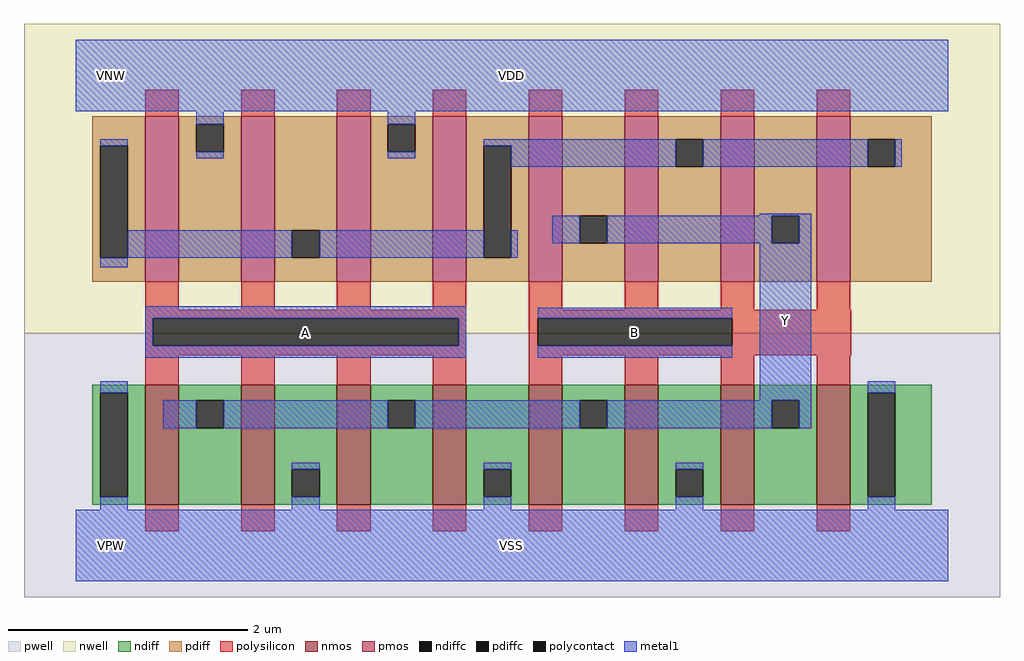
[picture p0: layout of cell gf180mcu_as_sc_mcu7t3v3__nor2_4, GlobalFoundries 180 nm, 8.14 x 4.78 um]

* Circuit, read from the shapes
.subckt gf180mcu_as_sc_mcu7t3v3__nor2_4 VDD VNW VPW VSS Y A B
XM1 Y A VSS VPW nfet_03v3 w=1u l=0.28u m=4
XM2 Y B VSS VPW nfet_03v3 w=1u l=0.28u m=4
XM3 VDD A n1 VNW pfet_03v3 w=1.38u l=0.28u m=4
XM4 Y B n1 VNW pfet_03v3 w=1.38u l=0.28u m=4
.ends

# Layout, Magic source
magic
tech gf180mcuD
magscale 1 10
<< nwell >>
rect -86 354 1542 870
<< pwell >>
rect -86 -86 1542 354
<< nmos >>
rect 116 68 172 268
rect 276 68 332 268
rect 436 68 492 268
rect 596 68 652 268
rect 756 68 812 268
rect 916 68 972 268
rect 1076 68 1132 268
rect 1236 68 1292 268
<< pmos >>
rect 116 440 172 716
rect 276 440 332 716
rect 436 440 492 716
rect 596 440 652 716
rect 756 440 812 716
rect 916 440 972 716
rect 1076 440 1132 716
rect 1236 440 1292 716
<< ndiff >>
rect 28 255 116 268
rect 28 81 41 255
rect 87 81 116 255
rect 28 68 116 81
rect 172 242 276 268
rect 172 196 201 242
rect 247 196 276 242
rect 172 68 276 196
rect 332 127 436 268
rect 332 81 361 127
rect 407 81 436 127
rect 332 68 436 81
rect 492 242 596 268
rect 492 196 521 242
rect 567 196 596 242
rect 492 68 596 196
rect 652 127 756 268
rect 652 81 681 127
rect 727 81 756 127
rect 652 68 756 81
rect 812 242 916 268
rect 812 196 841 242
rect 887 196 916 242
rect 812 68 916 196
rect 972 127 1076 268
rect 972 81 1001 127
rect 1047 81 1076 127
rect 972 68 1076 81
rect 1132 242 1236 268
rect 1132 196 1161 242
rect 1207 196 1236 242
rect 1132 68 1236 196
rect 1292 255 1428 268
rect 1292 81 1321 255
rect 1367 81 1428 255
rect 1292 68 1428 81
<< pdiff >>
rect 28 667 116 716
rect 28 480 41 667
rect 87 480 116 667
rect 28 440 116 480
rect 172 703 276 716
rect 172 657 201 703
rect 247 657 276 703
rect 172 440 276 657
rect 332 526 436 716
rect 332 480 361 526
rect 407 480 436 526
rect 332 440 436 480
rect 492 703 596 716
rect 492 657 521 703
rect 567 657 596 703
rect 492 440 596 657
rect 652 667 756 716
rect 652 480 681 667
rect 727 480 756 667
rect 652 440 756 480
rect 812 550 916 716
rect 812 504 841 550
rect 887 504 916 550
rect 812 440 916 504
rect 972 678 1076 716
rect 972 632 1001 678
rect 1047 632 1076 678
rect 972 440 1076 632
rect 1132 550 1236 716
rect 1132 504 1161 550
rect 1207 504 1236 550
rect 1132 440 1236 504
rect 1292 678 1428 716
rect 1292 632 1321 678
rect 1367 632 1428 678
rect 1292 440 1428 632
<< ndiffc >>
rect 41 81 87 255
rect 201 196 247 242
rect 361 81 407 127
rect 521 196 567 242
rect 681 81 727 127
rect 841 196 887 242
rect 1001 81 1047 127
rect 1161 196 1207 242
rect 1321 81 1367 255
<< pdiffc >>
rect 41 480 87 667
rect 201 657 247 703
rect 361 480 407 526
rect 521 657 567 703
rect 681 480 727 667
rect 841 504 887 550
rect 1001 632 1047 678
rect 1161 504 1207 550
rect 1321 632 1367 678
<< polysilicon >>
rect 116 716 172 760
rect 276 716 332 760
rect 436 716 492 760
rect 596 716 652 760
rect 756 716 812 760
rect 916 716 972 760
rect 1076 716 1132 760
rect 1236 716 1292 760
rect 116 393 172 440
rect 276 393 332 440
rect 436 393 492 440
rect 596 393 652 440
rect 116 379 652 393
rect 116 333 129 379
rect 639 333 652 379
rect 116 317 652 333
rect 116 268 172 317
rect 276 268 332 317
rect 436 268 492 317
rect 596 268 652 317
rect 756 393 812 440
rect 916 393 972 440
rect 1076 393 1132 440
rect 1236 393 1292 440
rect 756 379 1294 393
rect 756 333 771 379
rect 1095 333 1294 379
rect 756 317 1294 333
rect 756 268 812 317
rect 916 268 972 317
rect 1076 268 1132 317
rect 1236 268 1292 317
rect 116 24 172 68
rect 276 24 332 68
rect 436 24 492 68
rect 596 24 652 68
rect 756 24 812 68
rect 916 24 972 68
rect 1076 24 1132 68
rect 1236 24 1292 68
<< polycontact >>
rect 129 333 639 379
rect 771 333 1095 379
<< metal1 >>
rect 0 724 1456 844
rect 201 703 247 724
rect 41 667 87 678
rect 201 646 247 657
rect 521 703 567 724
rect 521 646 567 657
rect 681 667 1001 678
rect 87 480 361 526
rect 407 480 681 526
rect 727 632 1001 667
rect 1047 632 1321 678
rect 1367 632 1378 678
rect 1141 550 1227 553
rect 727 480 738 526
rect 795 504 841 550
rect 887 504 1161 550
rect 1207 504 1227 550
rect 41 464 87 480
rect 116 379 652 399
rect 116 333 129 379
rect 639 333 652 379
rect 116 313 652 333
rect 771 379 1095 397
rect 771 313 1095 333
rect 41 255 87 274
rect 1141 242 1227 504
rect 146 196 201 242
rect 247 196 521 242
rect 567 196 841 242
rect 887 196 1161 242
rect 1207 196 1227 242
rect 1321 255 1367 274
rect 41 60 87 81
rect 361 127 407 138
rect 361 60 407 81
rect 681 127 727 138
rect 681 60 727 81
rect 1001 127 1047 138
rect 1001 60 1047 81
rect 1321 60 1367 81
rect 0 -60 1456 60
<< labels >>
flabel metal1 s 0 724 1456 844 0 FreeSans 400 0 0 0 VDD
port 1 nsew power bidirectional abutment
flabel metal1 s 0 -60 1456 60 0 FreeSans 400 0 0 0 VSS
port 4 nsew ground bidirectional abutment
flabel nwell s 10 734 110 834 0 FreeSans 400 0 0 0 VNW
port 2 nsew power bidirectional
flabel pwell s 10 -50 110 50 0 FreeSans 400 0 0 0 VPW
port 3 nsew ground bidirectional
flabel metal1 1141 196 1227 553 0 FreeSans 200 0 0 0 Y
port 5 nsew signal output
flabel metal1 116 313 652 399 0 FreeSans 200 0 0 0 A
port 6 nsew signal input
flabel metal1 771 313 1095 397 0 FreeSans 200 0 0 0 B
port 7 nsew signal input
<< properties >>
string FIXED_BBOX 0 0 1456 784
string LEFclass CORE
string LEFsite unithd
string LEFsymmetry X Y
string MASKHINTS_NPLUS -16 -46 1472 354
string MASKHINTS_PPLUS -16 354 1472 830
<< end >>
